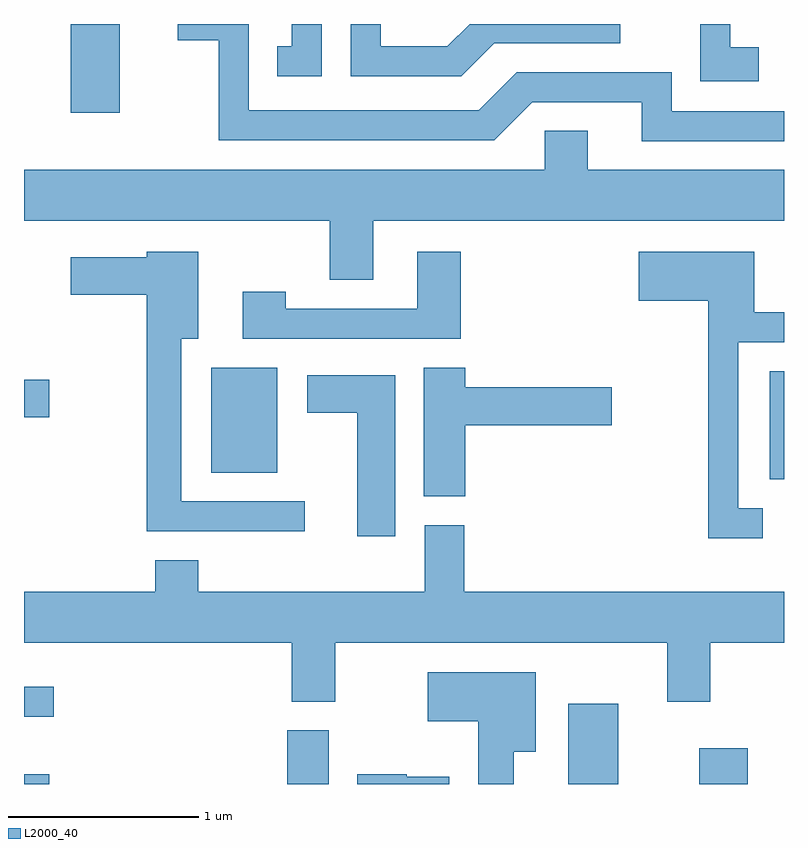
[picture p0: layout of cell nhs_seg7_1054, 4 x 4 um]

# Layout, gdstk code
import gdstk
lib = gdstk.Library(unit=1e-6, precision=1e-09)
def R(c, l, rs):  # rectangles x0, y0, x1, y1
    for r in rs: c.add(gdstk.rectangle(r[:2], r[2:], *l))
def P(c, l, *ps):  # polygons
    for p in ps: c.add(gdstk.Polygon(p, *l))
L2000_40 = (2000, 40)

nhs_seg7_1054 = lib.new_cell('nhs_seg7_1054')
R(nhs_seg7_1054, L2000_40, [(217.611,1700.252,217.744,1700.304), (218.996,1700.252,219.214,1700.534), (220.476,1700.252,220.739,1700.674), (221.166,1700.252,221.419,1700.439), (217.611,1700.606,217.768,1700.764), (221.536,1701.856,221.611,1702.424), (218.596,1701.891,218.944,1702.444), (217.611,1702.181,217.744,1702.379), (217.856,1703.786,218.114,1704.252)])
P(nhs_seg7_1054, L2000_40, [(220.087,1704.151),(220.749,1704.151),(220.749,1704.252),(219.957,1704.252),(219.839,1704.134),(219.489,1704.134),(219.489,1704.252),(219.331,1704.252),(219.331,1703.976),(219.912,1703.976)],
  [(221.611,1703.794),(221.019,1703.794),(221.019,1703.999),(220.204,1703.999),(220.004,1703.799),(218.794,1703.799),(218.794,1704.252),(218.421,1704.252),(218.421,1704.166),(218.636,1704.166),(218.636,1703.641),(220.087,1703.641),(220.287,1703.841),(220.861,1703.841),(220.861,1703.636),(221.611,1703.636)],
  [(219.179,1704.252),(219.021,1704.252),(219.021,1704.134),(218.943,1704.134),(218.943,1703.976),(219.179,1703.976)],
  [(221.479,1704.129),(221.329,1704.129),(221.329,1704.252),(221.171,1704.252),(221.171,1703.951),(221.479,1703.951)],
  [(219.449,1703.216),(221.611,1703.216),(221.611,1703.484),(220.579,1703.484),(220.579,1703.689),(220.351,1703.689),(220.351,1703.484),(217.611,1703.484),(217.611,1703.216),(219.221,1703.216),(219.221,1702.906),(219.449,1702.906)],
  [(219.909,1703.054),(219.681,1703.054),(219.681,1702.754),(218.989,1702.754),(218.989,1702.844),(218.761,1702.844),(218.761,1702.596),(219.909,1702.596)],
  [(221.498,1701.704),(221.369,1701.704),(221.369,1702.576),(221.611,1702.576),(221.611,1702.734),(221.454,1702.734),(221.454,1703.054),(220.846,1703.054),(220.846,1702.796),(221.211,1702.796),(221.211,1701.546),(221.498,1701.546)],
  [(219.088,1701.739),(218.439,1701.739),(218.439,1702.596),(218.529,1702.596),(218.529,1703.054),(218.256,1703.054),(218.256,1703.024),(217.856,1703.024),(217.856,1702.826),(218.256,1702.826),(218.256,1701.581),(219.088,1701.581)],
  [(219.934,1702.141),(220.704,1702.141),(220.704,1702.339),(219.934,1702.339),(219.934,1702.444),(219.716,1702.444),(219.716,1701.766),(219.934,1701.766)],
  [(219.564,1702.404),(219.101,1702.404),(219.101,1702.206),(219.366,1702.206),(219.366,1701.556),(219.564,1701.556)],
  [(219.249,1700.996),(220.996,1700.996),(220.996,1700.686),(221.224,1700.686),(221.224,1700.996),(221.611,1700.996),(221.611,1701.264),(219.929,1701.264),(219.929,1701.614),(219.721,1701.614),(219.721,1701.264),(218.529,1701.264),(218.529,1701.429),(218.301,1701.429),(218.301,1701.264),(217.611,1701.264),(217.611,1700.996),(219.021,1700.996),(219.021,1700.686),(219.249,1700.686)],
  [(220.189,1700.421),(220.304,1700.421),(220.304,1700.839),(219.736,1700.839),(219.736,1700.581),(220.001,1700.581),(220.001,1700.252),(220.189,1700.252)],
  [(219.849,1700.289),(219.625,1700.289),(219.625,1700.304),(219.366,1700.304),(219.366,1700.252),(219.849,1700.252)])

lib.write_gds('nhs_seg7_1054.gds')
